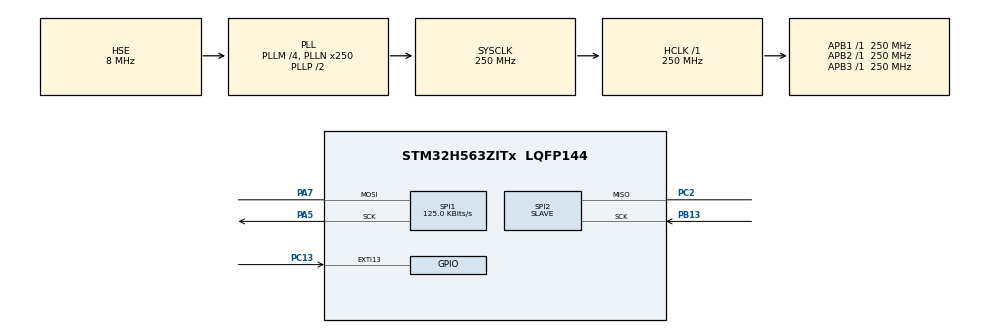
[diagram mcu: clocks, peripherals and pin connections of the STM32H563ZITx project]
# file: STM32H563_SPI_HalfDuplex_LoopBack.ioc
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BOOTPATH.BootPathName=LEGACY
BOOTPATH.UserSelectedBootPath=LEGACY
CORTEX_M33_NS.userName=CORTEX_M33
Mcu.Family=STM32H5
Mcu.Name=STM32H563ZITx
Mcu.Package=LQFP144
NVIC.EXTI13_IRQn=true\:0\:0\:false\:false\:true\:true\:true\:true
NVIC.PriorityGroup=NVIC_PRIORITYGROUP_4
NVIC.SPI1_IRQn=true\:0\:0\:false\:false\:true\:true\:true\:true
NVIC.SPI2_IRQn=true\:0\:0\:false\:false\:true\:true\:true\:true
PA13(JTMS/SWDIO).Mode=Serial_Wire
PA13(JTMS/SWDIO).Signal=DEBUG_JTMS-SWDIO
PA14(JTCK/SWCLK).Mode=Serial_Wire
PA14(JTCK/SWCLK).Signal=DEBUG_JTCK-SWCLK
PA5.GPIO_PuPd=GPIO_PULLDOWN
PA5.GPIO_Speed=GPIO_SPEED_FREQ_HIGH
PA5.Mode=Simplex_Bidirectional_Master
PA5.Signal=SPI1_SCK
PA7.GPIO_PuPd=GPIO_PULLDOWN
PA7.GPIO_Speed=GPIO_SPEED_FREQ_HIGH
PA7.Mode=Simplex_Bidirectional_Master
PA7.Signal=SPI1_MOSI
PB13.GPIO_PuPd=GPIO_PULLDOWN
PB13.GPIO_Speed=GPIO_SPEED_FREQ_HIGH
PB13.Mode=Simplex_Bidirectional_Slave
PB13.Signal=SPI2_SCK
PC13.GPIO_ModeDefaultEXTI=GPIO_MODE_IT_RISING
PC13.Signal=GPXTI13
PC2.GPIO_PuPd=GPIO_PULLDOWN
PC2.GPIO_Speed=GPIO_SPEED_FREQ_HIGH
PC2.Mode=Simplex_Bidirectional_Slave
PC2.Signal=SPI2_MISO
PH0-OSC_IN(PH0).Mode=HSE-External-Clock-Source
PH0-OSC_IN(PH0).Signal=RCC_OSC_IN
ProjectManager.HeapSize=0x200
ProjectManager.StackSize=0x400
ProjectManager.TargetToolchain=STM32CubeIDE
RCC.ADCFreq_Value=250000000
RCC.AHBFreq_Value=250000000
RCC.APB1Freq_Value=250000000
RCC.APB1TimFreq_Value=250000000
RCC.APB2Freq_Value=250000000
RCC.APB2TimFreq_Value=250000000
RCC.APB3Freq_Value=250000000
RCC.CSI_VALUE=4000000
RCC.CortexFreq_Value=250000000
RCC.EPOD_VALUE=8000000
RCC.HCLKFreq_Value=250000000
RCC.HSE_VALUE=8000000
RCC.HSI48_VALUE=48000000
RCC.HSI_VALUE=64000000
RCC.LSE_VALUE=32768
RCC.LSIRC_VALUE=32000
RCC.PLL2FRACN=0
RCC.PLL3FRACN=0
RCC.PLLFRACN=0
RCC.PLLM=4
RCC.PLLN=250
RCC.PLLSourceVirtual=RCC_PLL1_SOURCE_HSE
RCC.SPI1CLockSelection=RCC_SPI1CLKSOURCE_CLKP
RCC.SPI2CLockSelection=RCC_SPI2CLKSOURCE_CLKP
RCC.SYSCLKFreq_VALUE=250000000
RCC.SYSCLKSource=RCC_SYSCLKSOURCE_PLLCLK
RCC.USBFreq_Value=48000000
RCC.VCOOutputFreq_Value=500000000
SPI1.BaudRatePrescaler=SPI_BAUDRATEPRESCALER_256
SPI1.CLKPhase=SPI_PHASE_1EDGE
SPI1.CLKPolarity=SPI_POLARITY_LOW
SPI1.CalculateBaudRate=125.0 KBits/s
SPI1.DataSize=SPI_DATASIZE_8BIT
SPI1.Direction=SPI_DIRECTION_1LINE
SPI1.FifoThreshold=SPI_FIFO_THRESHOLD_04DATA
SPI1.Mode=SPI_MODE_MASTER
SPI1.NSSPMode=SPI_NSS_PULSE_DISABLE
SPI1.VirtualType=VM_MASTER
SPI2.CLKPhase=SPI_PHASE_1EDGE
SPI2.CLKPolarity=SPI_POLARITY_LOW
SPI2.DataSize=SPI_DATASIZE_8BIT
SPI2.Direction=SPI_DIRECTION_1LINE
SPI2.FifoThreshold=SPI_FIFO_THRESHOLD_04DATA
SPI2.Mode=SPI_MODE_SLAVE
SPI2.VirtualType=VM_SLAVE
VP_BOOTPATH_VS_BOOTPATH.Mode=BP_Activate
VP_CORTEX_M33_NS_VS_Hclk.Mode=Hclk_Mode
VP_ICACHE_VS_ICACHE.Mode=DirectMappedCache
VP_MEMORYMAP_VS_MEMORYMAP.Mode=CurAppReg
VP_PWR_VS_DBSignals.Mode=DisableDeadBatterySignals
VP_PWR_VS_LPOM.Mode=PowerOptimisation
VP_PWR_VS_SECSignals.Mode=Security/Privilege
board=custom

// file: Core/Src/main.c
/* USER CODE BEGIN Header */
/**
  ******************************************************************************
  * @file           : main.c
  * @brief          : Main program body
  ******************************************************************************
  * @attention
  *
  * Copyright (c) 2024 STMicroelectronics.
  * All rights reserved.
  *
  * This software is licensed under terms that can be found in the LICENSE file
  * in the root directory of this software component.
  * If no LICENSE file comes with this software, it is provided AS-IS.
  *
  ******************************************************************************
  */
/* USER CODE END Header */
#include "main.h"

/* USER CODE BEGIN Includes */
#include <string.h>
/* USER CODE END Includes */

SPI_HandleTypeDef hspi1;
SPI_HandleTypeDef hspi2;

/* USER CODE BEGIN PV */

uint8_t masterTxBuffer[] = "**** MASTER SPI_OneBoard_HalfDuplex_IT_Init communication **** SPI_OneBoard_HalfDuplex_IT_Init communication **** SPI_OneBoard_HalfDuplex_IT_Init communication ****";
uint8_t slaveTxBuffer[] =  "**** SLAVE  SPI_OneBoard_HalfDuplex_IT_Init communication **** SPI_OneBoard_HalfDuplex_IT_Init communication **** SPI_OneBoard_HalfDuplex_IT_Init communication ****";

uint8_t masterRxBuffer[sizeof(masterTxBuffer)];
uint8_t slaveRxBuffer[sizeof(masterTxBuffer)];

volatile uint8_t dataReceivedFlag_master = 0;
volatile uint8_t dataReceivedFlag_slave = 0;
volatile uint8_t dataSendFlag_master = 0;
volatile uint8_t dataSendFlag_slave = 0;

/* USER CODE END PV */

void SystemClock_Config(void);
void PeriphCommonClock_Config(void);
static void MX_GPIO_Init(void);
static void MX_SPI1_Init(void);
static void MX_ICACHE_Init(void);
static void MX_SPI2_Init(void);

/* USER CODE BEGIN 0 */

typedef enum
{
  SPI_MODE_MASTER_RX,
  SPI_MODE_MASTER_TX,
  SPI_MODE_SLAVE_RX,
  SPI_MODE_SLAVE_TX
} SPI_Mode;

void SPI_Switch_Mode(SPI_HandleTypeDef *hspi, SPI_Mode mode)
{
  // Note: To modify the HDDIR bit, the SPE (SPI Peripheral Enable) bit must be cleared.
  __HAL_SPI_DISABLE(hspi);

  // HDDIR = 0(RX)
  // HDDIR = 1(TX)
  switch (mode)
  {
    case SPI_MODE_MASTER_RX:
    case SPI_MODE_SLAVE_RX:
      CLEAR_BIT(hspi->Instance->CR1, SPI_CR1_HDDIR);
      break;

    case SPI_MODE_MASTER_TX:
    case SPI_MODE_SLAVE_TX:
      SET_BIT(hspi->Instance->CR1, SPI_CR1_HDDIR);
      break;

    default:
      return;
  }

  // Note: The HAL API functions for SPI Transmit and Receive
  // internally set the SPE (SPI Peripheral Enable) bit.
  // Avoid redundant use of __HAL_SPI_ENABLE(hspi) to prevent conflicts.

  //__HAL_SPI_ENABLE(hspi);
}

void SPI_LoopBackTest(void)
{
  // SPI communication from Master to Slave:
  // 1. Set SPI1 to Master TX mode and SPI2 to Slave RX mode.
  // 2. Initialize non-blocking SPI transmission (Master) and reception (Slave).
  // 3. Wait until the Slave receives data (dataReceivedFlag_slave is set).
  // 4. Compare the received data in slaveRxBuffer with the transmitted data in masterTxBuffer.
  // 5. If the data matches, clear the slaveRxBuffer and exit the loop.
  // 6. If the data does not match, call the error handler.

  SPI_Switch_Mode(&hspi1, SPI_MODE_MASTER_TX); // Switch SPI1 to Master TX mode
  SPI_Switch_Mode(&hspi2, SPI_MODE_SLAVE_RX);  // Switch SPI2 to Slave RX mode

  if (HAL_SPI_Receive_IT(&hspi2, slaveRxBuffer, sizeof(slaveRxBuffer)) != HAL_OK)
  {
    Error_Handler();
  }

  if (HAL_SPI_Transmit_IT(&hspi1, masterTxBuffer, sizeof(masterTxBuffer)) != HAL_OK)
  {
    Error_Handler();
  }

  while (1)
  {
    if (dataReceivedFlag_slave)
    {
      dataReceivedFlag_slave = 0;

      // Compare the slave RX buffer with the master TX buffer
      if (memcmp(masterTxBuffer, slaveRxBuffer, sizeof(masterTxBuffer)) == 0)
      {
        memset(slaveRxBuffer, 0, sizeof(slaveRxBuffer));
        break;
      }
      else
      {
        Error_Handler();
      }
    }
  }

  // SPI communication from Slave to Master:
  // 1. Configure SPI1 (Master) to RX mode and SPI2 (Slave) to TX mode.
  // 2. Start non-blocking SPI transmission from Slave (slaveTxBuffer).
  // 3. Start non-blocking SPI reception on Master (masterRxBuffer).
  // 4. Enter a loop to wait for the Master to complete data reception.

  SPI_Switch_Mode(&hspi1, SPI_MODE_MASTER_RX); // Switch SPI1 to Master RX mode
  SPI_Switch_Mode(&hspi2, SPI_MODE_SLAVE_TX);  // Switch SPI2 to Slave TX mode

  if (HAL_SPI_Transmit_IT(&hspi2, slaveTxBuffer, sizeof(slaveTxBuffer)) != HAL_OK)
  {
    Error_Handler();
  }

  if (HAL_SPI_Receive_IT(&hspi1, masterRxBuffer, sizeof(masterRxBuffer)) != HAL_OK)
  {
    Error_Handler();
  }

  while (1)
  {
    if (dataReceivedFlag_master)
    {
      dataReceivedFlag_master = 0;

      // Compare the master RX buffer with the slave TX buffer
      if (memcmp(slaveTxBuffer, masterRxBuffer, sizeof(slaveTxBuffer)) == 0)
      {
        memset(masterRxBuffer, 0, sizeof(masterRxBuffer));
        break;
      }
      else
      {
        Error_Handler();
      }
    }
  }
}

void HAL_SPI_RxCpltCallback(SPI_HandleTypeDef *hspi)
{
  if (hspi->Instance == hspi1.Instance)
  {
    dataReceivedFlag_master = 1;
  }
  if (hspi->Instance == hspi2.Instance)
  {
    dataReceivedFlag_slave = 1;
  }
}

void HAL_SPI_TxCpltCallback(SPI_HandleTypeDef *hspi)
{
  if (hspi->Instance == hspi1.Instance)
  {
    dataSendFlag_master = 1;
  }
  if (hspi->Instance == hspi2.Instance)
  {
    dataSendFlag_slave = 2;
  }
}

/* USER CODE END 0 */

int main(void)
{

  /* MCU Configuration--------------------------------------------------------*/

  /* Reset of all peripherals, Initializes the Flash interface and the Systick. */
  HAL_Init();

  /* Configure the system clock */
  SystemClock_Config();

  /* Configure the peripherals common clocks */
  PeriphCommonClock_Config();

  /* Initialize all configured peripherals */
  MX_GPIO_Init();
  MX_SPI1_Init();
  MX_ICACHE_Init();
  MX_SPI2_Init();

  /* Infinite loop */
  /* USER CODE BEGIN WHILE */
  while (1)
  {
    SPI_LoopBackTest();
    HAL_Delay(10);
    /* USER CODE END WHILE */

  }
}

void SystemClock_Config(void)
{
  RCC_OscInitTypeDef RCC_OscInitStruct = {0};
  RCC_ClkInitTypeDef RCC_ClkInitStruct = {0};

  /** Configure the main internal regulator output voltage
  */
  __HAL_PWR_VOLTAGESCALING_CONFIG(PWR_REGULATOR_VOLTAGE_SCALE0);

  while(!__HAL_PWR_GET_FLAG(PWR_FLAG_VOSRDY)) {}

  /** Initializes the RCC Oscillators according to the specified parameters
  * in the RCC_OscInitTypeDef structure.
  */
  RCC_OscInitStruct.OscillatorType = RCC_OSCILLATORTYPE_LSI|RCC_OSCILLATORTYPE_HSE;
  RCC_OscInitStruct.HSEState = RCC_HSE_BYPASS;
  RCC_OscInitStruct.LSIState = RCC_LSI_ON;
  RCC_OscInitStruct.PLL.PLLState = RCC_PLL_ON;
  RCC_OscInitStruct.PLL.PLLSource = RCC_PLL1_SOURCE_HSE;
  RCC_OscInitStruct.PLL.PLLM = 4;
  RCC_OscInitStruct.PLL.PLLN = 250;
  RCC_OscInitStruct.PLL.PLLP = 2;
  RCC_OscInitStruct.PLL.PLLQ = 2;
  RCC_OscInitStruct.PLL.PLLR = 2;
  RCC_OscInitStruct.PLL.PLLRGE = RCC_PLL1_VCIRANGE_1;
  RCC_OscInitStruct.PLL.PLLVCOSEL = RCC_PLL1_VCORANGE_WIDE;
  RCC_OscInitStruct.PLL.PLLFRACN = 0;
  if (HAL_RCC_OscConfig(&RCC_OscInitStruct) != HAL_OK)
  {
    Error_Handler();
  }

  /** Initializes the CPU, AHB and APB buses clocks
  */
  RCC_ClkInitStruct.ClockType = RCC_CLOCKTYPE_HCLK|RCC_CLOCKTYPE_SYSCLK
                              |RCC_CLOCKTYPE_PCLK1|RCC_CLOCKTYPE_PCLK2
                              |RCC_CLOCKTYPE_PCLK3;
  RCC_ClkInitStruct.SYSCLKSource = RCC_SYSCLKSOURCE_PLLCLK;
  RCC_ClkInitStruct.AHBCLKDivider = RCC_SYSCLK_DIV1;
  RCC_ClkInitStruct.APB1CLKDivider = RCC_HCLK_DIV1;
  RCC_ClkInitStruct.APB2CLKDivider = RCC_HCLK_DIV1;
  RCC_ClkInitStruct.APB3CLKDivider = RCC_HCLK_DIV1;

  if (HAL_RCC_ClockConfig(&RCC_ClkInitStruct, FLASH_LATENCY_5) != HAL_OK)
  {
    Error_Handler();
  }

  /** Configure the programming delay
  */
  __HAL_FLASH_SET_PROGRAM_DELAY(FLASH_PROGRAMMING_DELAY_2);
}

void PeriphCommonClock_Config(void)
{
  RCC_PeriphCLKInitTypeDef PeriphClkInitStruct = {0};

  /** Initializes the peripherals clock
  */
  PeriphClkInitStruct.PeriphClockSelection = RCC_PERIPHCLK_CKPER;
  PeriphClkInitStruct.CkperClockSelection = RCC_CLKPSOURCE_HSI;
  if (HAL_RCCEx_PeriphCLKConfig(&PeriphClkInitStruct) != HAL_OK)
  {
    Error_Handler();
  }
}

static void MX_ICACHE_Init(void)
{

  /** Enable instruction cache in 1-way (direct mapped cache)
  */
  if (HAL_ICACHE_ConfigAssociativityMode(ICACHE_1WAY) != HAL_OK)
  {
    Error_Handler();
  }
  if (HAL_ICACHE_Enable() != HAL_OK)
  {
    Error_Handler();
  }

}

static void MX_SPI1_Init(void)
{

  /* SPI1 parameter configuration*/
  hspi1.Instance = SPI1;
  hspi1.Init.Mode = SPI_MODE_MASTER;
  hspi1.Init.Direction = SPI_DIRECTION_1LINE;
  hspi1.Init.DataSize = SPI_DATASIZE_8BIT;
  hspi1.Init.CLKPolarity = SPI_POLARITY_LOW;
  hspi1.Init.CLKPhase = SPI_PHASE_1EDGE;
  hspi1.Init.NSS = SPI_NSS_SOFT;
  hspi1.Init.BaudRatePrescaler = SPI_BAUDRATEPRESCALER_256;
  hspi1.Init.FirstBit = SPI_FIRSTBIT_MSB;
  hspi1.Init.TIMode = SPI_TIMODE_DISABLE;
  hspi1.Init.CRCCalculation = SPI_CRCCALCULATION_DISABLE;
  hspi1.Init.CRCPolynomial = 0x7;
  hspi1.Init.NSSPMode = SPI_NSS_PULSE_DISABLE;
  hspi1.Init.NSSPolarity = SPI_NSS_POLARITY_LOW;
  hspi1.Init.FifoThreshold = SPI_FIFO_THRESHOLD_04DATA;
  hspi1.Init.MasterSSIdleness = SPI_MASTER_SS_IDLENESS_00CYCLE;
  hspi1.Init.MasterInterDataIdleness = SPI_MASTER_INTERDATA_IDLENESS_00CYCLE;
  hspi1.Init.MasterReceiverAutoSusp = SPI_MASTER_RX_AUTOSUSP_DISABLE;
  hspi1.Init.MasterKeepIOState = SPI_MASTER_KEEP_IO_STATE_DISABLE;
  hspi1.Init.IOSwap = SPI_IO_SWAP_DISABLE;
  hspi1.Init.ReadyMasterManagement = SPI_RDY_MASTER_MANAGEMENT_INTERNALLY;
  hspi1.Init.ReadyPolarity = SPI_RDY_POLARITY_HIGH;
  if (HAL_SPI_Init(&hspi1) != HAL_OK)
  {
    Error_Handler();
  }

}

static void MX_SPI2_Init(void)
{

  /* SPI2 parameter configuration*/
  hspi2.Instance = SPI2;
  hspi2.Init.Mode = SPI_MODE_SLAVE;
  hspi2.Init.Direction = SPI_DIRECTION_1LINE;
  hspi2.Init.DataSize = SPI_DATASIZE_8BIT;
  hspi2.Init.CLKPolarity = SPI_POLARITY_LOW;
  hspi2.Init.CLKPhase = SPI_PHASE_1EDGE;
  hspi2.Init.NSS = SPI_NSS_SOFT;
  hspi2.Init.FirstBit = SPI_FIRSTBIT_MSB;
  hspi2.Init.TIMode = SPI_TIMODE_DISABLE;
  hspi2.Init.CRCCalculation = SPI_CRCCALCULATION_DISABLE;
  hspi2.Init.CRCPolynomial = 0x7;
  hspi2.Init.NSSPMode = SPI_NSS_PULSE_DISABLE;
  hspi2.Init.NSSPolarity = SPI_NSS_POLARITY_LOW;
  hspi2.Init.FifoThreshold = SPI_FIFO_THRESHOLD_04DATA;
  hspi2.Init.MasterSSIdleness = SPI_MASTER_SS_IDLENESS_00CYCLE;
  hspi2.Init.MasterInterDataIdleness = SPI_MASTER_INTERDATA_IDLENESS_00CYCLE;
  hspi2.Init.MasterReceiverAutoSusp = SPI_MASTER_RX_AUTOSUSP_DISABLE;
  hspi2.Init.MasterKeepIOState = SPI_MASTER_KEEP_IO_STATE_DISABLE;
  hspi2.Init.IOSwap = SPI_IO_SWAP_DISABLE;
  hspi2.Init.ReadyMasterManagement = SPI_RDY_MASTER_MANAGEMENT_INTERNALLY;
  hspi2.Init.ReadyPolarity = SPI_RDY_POLARITY_HIGH;
  if (HAL_SPI_Init(&hspi2) != HAL_OK)
  {
    Error_Handler();
  }

}

static void MX_GPIO_Init(void)
{
  GPIO_InitTypeDef GPIO_InitStruct = {0};

  /* GPIO Ports Clock Enable */
  __HAL_RCC_GPIOC_CLK_ENABLE();
  __HAL_RCC_GPIOH_CLK_ENABLE();
  __HAL_RCC_GPIOA_CLK_ENABLE();
  __HAL_RCC_GPIOB_CLK_ENABLE();

  /*Configure GPIO pin : PC13 */
  GPIO_InitStruct.Pin = GPIO_PIN_13;
  GPIO_InitStruct.Mode = GPIO_MODE_IT_RISING;
  GPIO_InitStruct.Pull = GPIO_NOPULL;
  HAL_GPIO_Init(GPIOC, &GPIO_InitStruct);

  /* EXTI interrupt init*/
  HAL_NVIC_SetPriority(EXTI13_IRQn, 0, 0);
  HAL_NVIC_EnableIRQ(EXTI13_IRQn);

}

void Error_Handler(void)
{
  __disable_irq();
  while (1)
  {
  }
}
